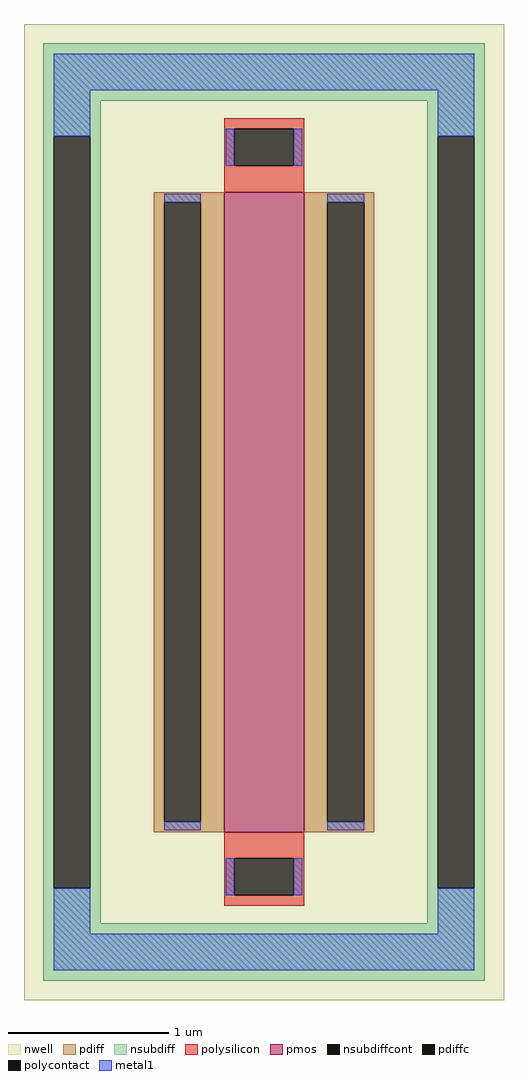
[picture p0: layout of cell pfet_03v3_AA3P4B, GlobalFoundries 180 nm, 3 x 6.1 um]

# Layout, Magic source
magic
tech gf180mcuD
magscale 1 10
<< nwell >>
rect -300 -610 300 610
<< pmos >>
rect -50 -400 50 400
<< pdiff >>
rect -138 387 -50 400
rect -138 -387 -125 387
rect -79 -387 -50 387
rect -138 -400 -50 -387
rect 50 387 138 400
rect 50 -387 79 387
rect 125 -387 138 387
rect 50 -400 138 -387
<< pdiffc >>
rect -125 -387 -79 387
rect 79 -387 125 387
<< nsubdiff >>
rect -276 514 276 586
rect -276 470 -204 514
rect -276 -470 -263 470
rect -217 -470 -204 470
rect 204 470 276 514
rect -276 -514 -204 -470
rect 204 -470 217 470
rect 263 -470 276 470
rect 204 -514 276 -470
rect -276 -586 276 -514
<< nsubdiffcont >>
rect -263 -470 -217 470
rect 217 -470 263 470
<< polysilicon >>
rect -50 479 50 492
rect -50 433 -37 479
rect 37 433 50 479
rect -50 400 50 433
rect -50 -433 50 -400
rect -50 -479 -37 -433
rect 37 -479 50 -433
rect -50 -492 50 -479
<< polycontact >>
rect -37 433 37 479
rect -37 -479 37 -433
<< metal1 >>
rect -263 527 263 573
rect -263 470 -217 527
rect -48 433 -37 479
rect 37 433 48 479
rect 217 470 263 527
rect -125 387 -79 398
rect -125 -398 -79 -387
rect 79 387 125 398
rect 79 -398 125 -387
rect -263 -527 -217 -470
rect -48 -479 -37 -433
rect 37 -479 48 -433
rect 217 -527 263 -470
rect -263 -573 263 -527
<< properties >>
string FIXED_BBOX -240 -550 240 550
string gencell pfet_03v3
string library gf180mcu
string parameters w 4.0 l 0.5 m 1 nf 1 diffcov 100 polycov 100 guard 1 glc 1 grc 1 gtc 0 gbc 0 tbcov 100 rlcov 100 topc 1 botc 1 poverlap 0 doverlap 1 lmin 0.28 wmin 0.22 class mosfet full_metal 1 compatible {pfet_03v3 pfet_05v0 pfet_06v0} ad int((nf+1)/2)*W/nf*0.18u as int((nf+2)/2)*W/nf*0.18u pd 2*int((nf+1)/2)*(W/nf+0.18u) ps 2*int((nf+2)/2)*(W/nf+0.18u) nrd 0.18u/W nrs 0.18u/W sa 0 sb 0 sd 0
<< end >>
